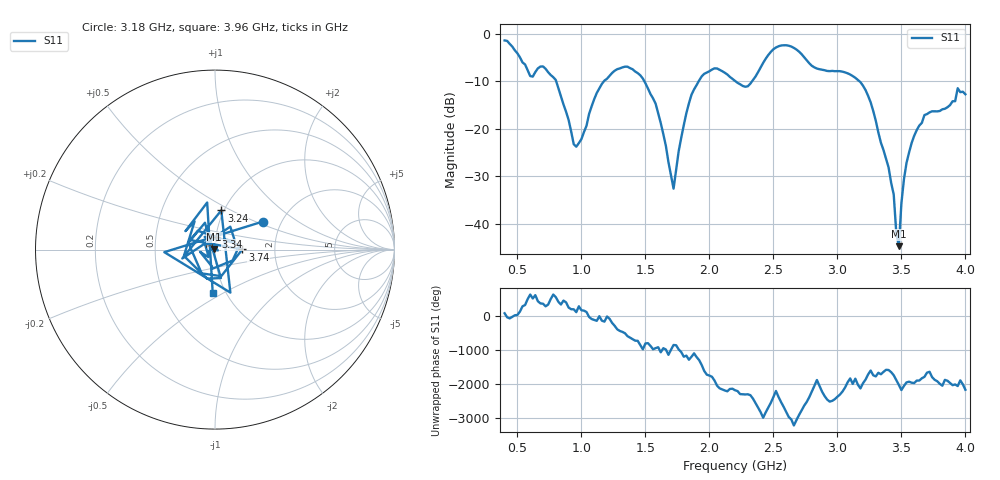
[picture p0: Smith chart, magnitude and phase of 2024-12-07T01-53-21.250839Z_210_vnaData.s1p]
!Created with skrf (http://scikit-rf.org).
# Hz S RI R 50.0
!freq ReS11 ImS11
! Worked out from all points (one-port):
!   181 points, 400 MHz to 4 GHz, reference 50 ohm
!   lowest |S11| = -44.7 dB at 3.48 GHz (marker M1), VSWR 1.01, Z = 49.6 + j0.41 ohm
!   |S11| at or under -10 dB: 802.6 MHz to 1.177 GHz (374.5 MHz wide, 37.8 % of centre); 1.491 GHz to 1.917 GHz (426.5 MHz wide, 25 % of centre); 3.17 GHz to end of sweep (the widest 3 of 4)
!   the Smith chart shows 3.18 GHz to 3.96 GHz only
!   S11 on the Smith chart (normalised r, x): 3.18 GHz: 1.61, +0.55; 3.24 GHz: 0.97, +0.45; 3.34 GHz: 1.00, +0.14; 3.74 GHz: 1.36, +0.00; 3.96 GHz: 0.87, -0.45
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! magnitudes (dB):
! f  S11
! 400 MHz  -1.5
! 600 MHz  -8.9
! 720 MHz  -7.4
! 860 MHz  -14.9
! 960 MHz  -23.8
! 1.12 GHz  -12.5
! 1.3 GHz  -7.3
! 1.46 GHz  -8.8
! 1.58 GHz  -14.8
! 1.72 GHz  -32.6
! 1.76 GHz  -24.7
! 1.86 GHz  -12.9
! 1.94 GHz  -9.0
! 2.2 GHz  -10.0
! 2.3 GHz  -11.1
! 2.5 GHz  -3.3
! 2.66 GHz  -3.0
! 3.1 GHz  -8.6
! 3.18 GHz  -10.2
! 3.24 GHz  -13.1
! 3.34 GHz  -23.0
! 3.44 GHz  -33.8
! 3.48 GHz  -44.7
! 3.52 GHz  -30.6
! 3.56 GHz  -25.0
! 3.74 GHz  -16.4
! 3.96 GHz  -12.3
! 4 GHz  -12.8
